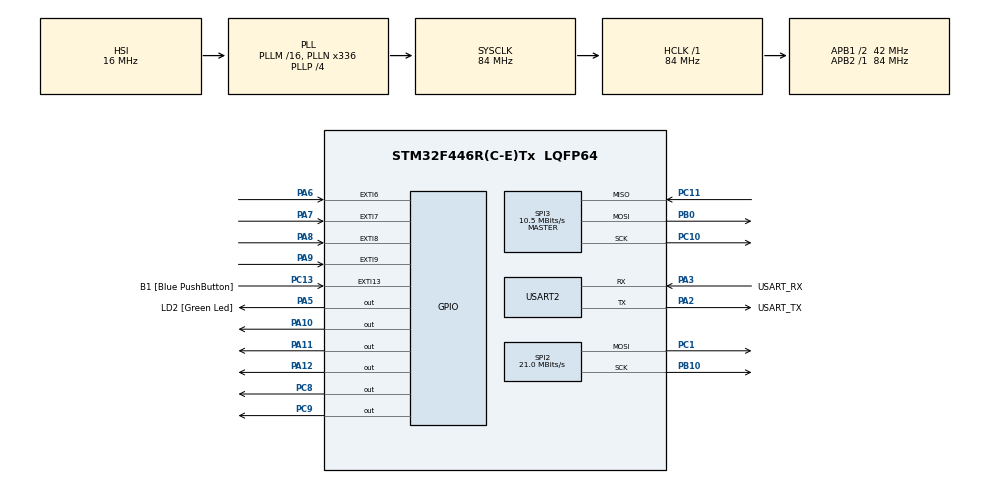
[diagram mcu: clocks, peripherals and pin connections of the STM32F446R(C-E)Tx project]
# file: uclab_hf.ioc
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Mcu.Family=STM32F4
Mcu.Name=STM32F446R(C-E)Tx
Mcu.Package=LQFP64
NVIC.EXTI9_5_IRQn=true\:0\:0\:false\:false\:true\:true\:true\:true
NVIC.PriorityGroup=NVIC_PRIORITYGROUP_0
NVIC.TIM1_TRG_COM_TIM11_IRQn=true\:0\:0\:false\:false\:true\:true\:true\:true
NVIC.TIM1_UP_TIM10_IRQn=true\:0\:0\:false\:false\:true\:true\:true\:true
PA10.Signal=GPIO_Output
PA11.Signal=GPIO_Output
PA12.Signal=GPIO_Output
PA13.GPIO_Label=TMS
PA13.Mode=Serial_Wire
PA13.Signal=SYS_JTMS-SWDIO
PA14.GPIO_Label=TCK
PA14.Mode=Serial_Wire
PA14.Signal=SYS_JTCK-SWCLK
PA2.GPIO_Label=USART_TX
PA2.Mode=Asynchronous
PA2.Signal=USART2_TX
PA3.GPIO_Label=USART_RX
PA3.Mode=Asynchronous
PA3.Signal=USART2_RX
PA5.GPIO_Label=LD2 [Green Led]
PA5.Signal=GPIO_Output
PA6.GPIO_ModeDefaultEXTI=GPIO_MODE_IT_FALLING
PA6.Signal=GPXTI6
PA7.GPIO_ModeDefaultEXTI=GPIO_MODE_IT_FALLING
PA7.Signal=GPXTI7
PA8.Signal=GPXTI8
PA9.GPIO_ModeDefaultEXTI=GPIO_MODE_IT_RISING
PA9.Signal=GPXTI9
PB0.Mode=Full_Duplex_Master
PB0.Signal=SPI3_MOSI
PB10.Mode=TX_Only_Simplex_Unidirect_Master
PB10.Signal=SPI2_SCK
PB3.GPIO_Label=SWO
PB3.Signal=SYS_JTDO-SWO
PC1.Mode=TX_Only_Simplex_Unidirect_Master
PC1.Signal=SPI2_MOSI
PC10.Mode=Full_Duplex_Master
PC10.Signal=SPI3_SCK
PC11.Mode=Full_Duplex_Master
PC11.Signal=SPI3_MISO
PC13.GPIO_Label=B1 [Blue PushButton]
PC13.GPIO_ModeDefaultEXTI=GPIO_MODE_IT_FALLING
PC13.Signal=GPXTI13
PC14-OSC32_IN.Mode=LSE-External-Oscillator
PC14-OSC32_IN.Signal=RCC_OSC32_IN
PC15-OSC32_OUT.Mode=LSE-External-Oscillator
PC15-OSC32_OUT.Signal=RCC_OSC32_OUT
PC8.Signal=GPIO_Output
PC9.Signal=GPIO_Output
PH0-OSC_IN.Mode=HSE-External-Oscillator
PH0-OSC_IN.Signal=RCC_OSC_IN
PH1-OSC_OUT.Mode=HSE-External-Oscillator
PH1-OSC_OUT.Signal=RCC_OSC_OUT
ProjectManager.HeapSize=0x200
ProjectManager.StackSize=0x400
ProjectManager.TargetToolchain=STM32CubeIDE
RCC.48MHZClocksFreq_Value=84000000
RCC.AHBFreq_Value=84000000
RCC.APB1CLKDivider=RCC_HCLK_DIV2
RCC.APB1Freq_Value=42000000
RCC.APB1TimFreq_Value=84000000
RCC.APB2Freq_Value=84000000
RCC.APB2TimFreq_Value=84000000
RCC.CortexFreq_Value=84000000
RCC.FLatency-AdvancedSettings=FLASH_LATENCY_2
RCC.HCLKFreq_Value=84000000
RCC.HSE_VALUE=8000000
RCC.HSI_VALUE=16000000
RCC.PLLN=336
RCC.PLLP=RCC_PLLP_DIV4
RCC.SYSCLKFreq_VALUE=84000000
RCC.SYSCLKSource=RCC_SYSCLKSOURCE_PLLCLK
RCC.USBFreq_Value=168000000
RCC.VCOOutputFreq_Value=336000000
SPI2.BaudRatePrescaler=SPI_BAUDRATEPRESCALER_2
SPI2.CalculateBaudRate=21.0 MBits/s
SPI2.Direction=SPI_DIRECTION_2LINES
SPI2.Mode=SPI_MODE_MASTER
SPI2.VirtualType=VM_MASTER
SPI3.BaudRatePrescaler=SPI_BAUDRATEPRESCALER_4
SPI3.CalculateBaudRate=10.5 MBits/s
SPI3.Direction=SPI_DIRECTION_2LINES
SPI3.Mode=SPI_MODE_MASTER
SPI3.VirtualType=VM_MASTER
TIM10.Period=10 - 1
TIM10.Prescaler=8000 - 1
TIM11.Period=10000 - 1
TIM11.Prescaler=8000 - 1
USART2.VirtualMode=VM_ASYNC
VP_TIM10_VS_ClockSourceINT.Mode=Enable_Timer
VP_TIM11_VS_ClockSourceINT.Mode=Enable_Timer
board=NUCLEO-F446RE

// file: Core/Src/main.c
/* USER CODE BEGIN Header */
/**
  ******************************************************************************
  * @file           : main.c
  * @brief          : Main program body
  ******************************************************************************
  * @attention
  *
  * Copyright (c) 2022 STMicroelectronics.
  * All rights reserved.
  *
  * This software is licensed under terms that can be found in the LICENSE file
  * in the root directory of this software component.
  * If no LICENSE file comes with this software, it is provided AS-IS.
  *
  ******************************************************************************
  */
/* USER CODE END Header */
#include "main.h"
#include "spi.h"
#include "tim.h"
#include "usart.h"
#include "gpio.h"

/* USER CODE BEGIN Includes */
#include "7seg.h"
#include "sensor.h"
/* USER CODE END Includes */

/* USER CODE BEGIN PM */

//Variables for the 7 segment numbers
const uint8_t digit0 = 0x3F;
const uint8_t digit1 = 0x06;
const uint8_t digit2 = 0x5B;
const uint8_t digit3 = 0x4F;
const uint8_t digit4 = 0x66;
const uint8_t digit5 = 0x6D;
const uint8_t digit6 = 0x7D;
const uint8_t digit7 = 0x07;
const uint8_t digit8 = 0x7F;
const uint8_t digit9 = 0x6F;
const uint8_t dummydigit = 0x00;

//Index variables for the 7 segment numbers
int digitindex0 = 0;
int digitindex1 = 0;
int digitindex2 = 0;
int digitindex3 = 0;

//Arrays for the 7 segment numbers
uint8_t display0[11] = {digit0, digit1, digit2, digit3, digit4, digit5, digit6, digit7, digit8, digit9, dummydigit};
uint8_t display1[10] = {digit0, digit1, digit2, digit3, digit4, digit5, digit6, digit7, digit8, digit9};
uint8_t display2[10] = {digit0, digit1, digit2, digit3, digit4, digit5, digit6, digit7, digit8, digit9};
uint8_t display3[10] = {digit0, digit1, digit2, digit3, digit4, digit5, digit6, digit7, digit8, digit9};

//We store the timestamps of the steps in steptimes ("only" 9999 becaues we only have 4 displays) and the index for it
uint16_t steptimes [9999];
uint16_t steptimesindex = 0;

//We save the timestamp into steptimes[steptimesindex] from this variable
//The tim11 timer increments this every 1 sec
uint16_t time = 0;

//String buffer for the USART communication
char steps[32];
char timestampstr[16];

/* USER CODE END PM */

/* USER CODE BEGIN PV */

//Selection variables for the 4 displays
GPIO_PinState is7segsel0;
GPIO_PinState is7segsel1;

//Sensor register addresses and the required bits to write in them to work properly
//Pedometer step recognition interrupt enable on INT1 pad
uint8_t sensorINT1_CTRLAddress = 0x0D;
uint8_t sensorINT1_CTRLData = 0x80;

//Interrupts enable
uint8_t sensorTAPCFGAddress = 0x58;
uint8_t sensorTAPCFGData = 0x80;

//Timer enable, pedometer algorithm enable,tilt calculation enable and global enable bit for these functions
uint8_t sensorCTRL10_CAddress = 0x19;
uint8_t sensorCTRL10_CData = 0x3C;

//Performance configuration register
uint8_t sensorCTRL1_XLAddress = 0x10;
uint8_t sensorCTRL1_XLData = 0x20;

//Step timestamp lower and higher byte addresses
uint8_t sensorSTEP_TIMESTAMP_LAddress = 0xC9;
uint8_t sensorSTEP_TIMESTAMP_HAddress = 0xCA;

//Time period register for step detection on delta time
uint8_t sensorSTEP_COUNT_DELTAAddress = 0x15;
uint8_t sensorSTEP_COUNT_DELTAData = 0xFF;

//Step recognition interrupt on delta time on INT2 pad
uint8_t sensorINT2_CTRLAddress = 0x0E;
uint8_t sensorINT2_CTRLData = 0x80;

/* USER CODE END PV */

void SystemClock_Config(void);

int main(void)
{

  /* MCU Configuration--------------------------------------------------------*/

  /* Reset of all peripherals, Initializes the Flash interface and the Systick. */
  HAL_Init();

  /* Configure the system clock */
  SystemClock_Config();

  /* Initialize all configured peripherals */
  MX_GPIO_Init();
  MX_SPI2_Init();
  MX_USART2_UART_Init();
  MX_SPI3_Init();
  MX_TIM10_Init();
  MX_TIM11_Init();
  /* USER CODE BEGIN 2 */

  //Starting the timers with interrupts
  HAL_TIM_Base_Start_IT(&htim10);
  HAL_TIM_Base_Start_IT(&htim11);

  //Disabling the CS for the sensor
  HAL_GPIO_WritePin(GPIOC, GPIO_PIN_8, GPIO_PIN_SET);

  //Initializing the sensor
  SensorInit();

  //Enable the 7seg displays (we always want to see the steps on it)
  //Shift register LE
  HAL_GPIO_WritePin(GPIOA, GPIO_PIN_10, GPIO_PIN_SET);

  //Shift register OE
  HAL_GPIO_WritePin(GPIOC, GPIO_PIN_9, GPIO_PIN_RESET);

  /* USER CODE END 2 */

  /* Infinite loop */
  /* USER CODE BEGIN WHILE */
  while (1)
  {
	  //We implemented everything in interrupts
    /* USER CODE END WHILE */

  }
}

void SystemClock_Config(void)
{
  RCC_OscInitTypeDef RCC_OscInitStruct = {0};
  RCC_ClkInitTypeDef RCC_ClkInitStruct = {0};

  /** Configure the main internal regulator output voltage
  */
  __HAL_RCC_PWR_CLK_ENABLE();
  __HAL_PWR_VOLTAGESCALING_CONFIG(PWR_REGULATOR_VOLTAGE_SCALE3);

  /** Initializes the RCC Oscillators according to the specified parameters
  * in the RCC_OscInitTypeDef structure.
  */
  RCC_OscInitStruct.OscillatorType = RCC_OSCILLATORTYPE_HSI;
  RCC_OscInitStruct.HSIState = RCC_HSI_ON;
  RCC_OscInitStruct.HSICalibrationValue = RCC_HSICALIBRATION_DEFAULT;
  RCC_OscInitStruct.PLL.PLLState = RCC_PLL_ON;
  RCC_OscInitStruct.PLL.PLLSource = RCC_PLLSOURCE_HSI;
  RCC_OscInitStruct.PLL.PLLM = 16;
  RCC_OscInitStruct.PLL.PLLN = 336;
  RCC_OscInitStruct.PLL.PLLP = RCC_PLLP_DIV4;
  RCC_OscInitStruct.PLL.PLLQ = 2;
  RCC_OscInitStruct.PLL.PLLR = 2;
  if (HAL_RCC_OscConfig(&RCC_OscInitStruct) != HAL_OK)
  {
    Error_Handler();
  }

  /** Initializes the CPU, AHB and APB buses clocks
  */
  RCC_ClkInitStruct.ClockType = RCC_CLOCKTYPE_HCLK|RCC_CLOCKTYPE_SYSCLK
                              |RCC_CLOCKTYPE_PCLK1|RCC_CLOCKTYPE_PCLK2;
  RCC_ClkInitStruct.SYSCLKSource = RCC_SYSCLKSOURCE_PLLCLK;
  RCC_ClkInitStruct.AHBCLKDivider = RCC_SYSCLK_DIV1;
  RCC_ClkInitStruct.APB1CLKDivider = RCC_HCLK_DIV2;
  RCC_ClkInitStruct.APB2CLKDivider = RCC_HCLK_DIV1;

  if (HAL_RCC_ClockConfig(&RCC_ClkInitStruct, FLASH_LATENCY_2) != HAL_OK)
  {
    Error_Handler();
  }
}

void Error_Handler(void)
{
  __disable_irq();
  while (1)
  {
  }
}
